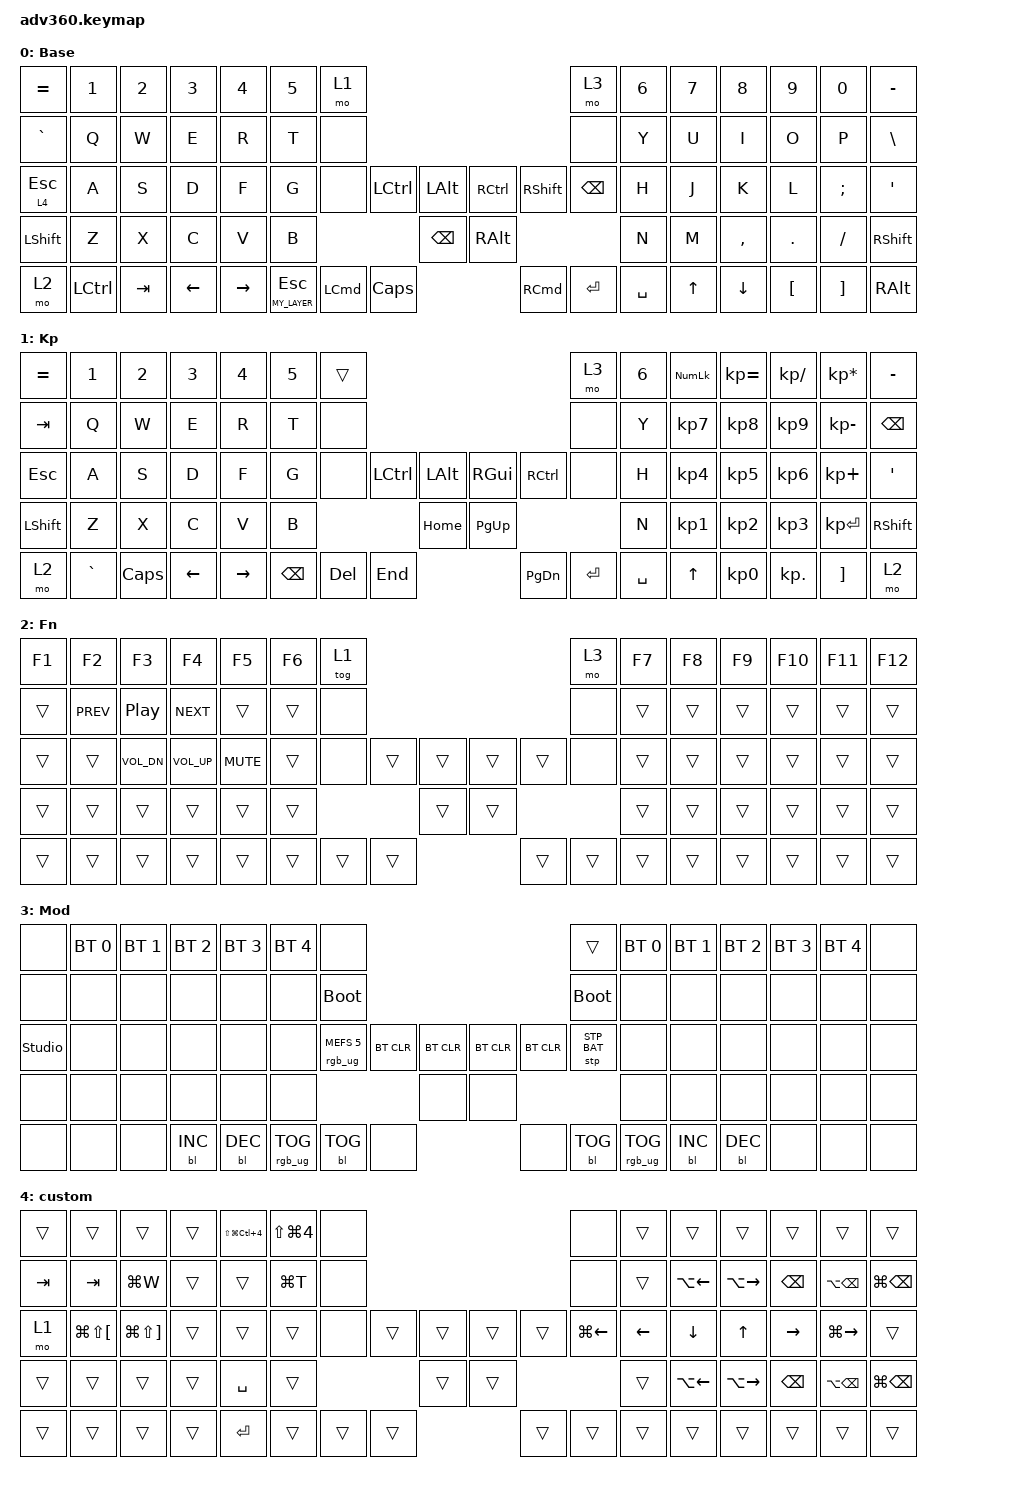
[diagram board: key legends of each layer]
#include <behaviors.dtsi>
#include <dt-bindings/zmk/keys.h>
#include <dt-bindings/zmk/bt.h>
#include <dt-bindings/zmk/rgb.h>
#include <dt-bindings/zmk/stp.h>
#include <dt-bindings/zmk/backlight.h>
#include <dt-bindings/zmk/pointing.h>

#define MY_LAYER 4

/ {
    behaviors {
      #include "macros.dtsi"
      #include "version.dtsi"

      hm: homerow_mods {
          compatible = "zmk,behavior-hold-tap";
          label = "HOMEROW_MODS";
          #binding-cells = <2>;
          tapping-term-ms = <200>;
          quick_tap_ms = <175>;
          flavor = "tap-preferred";
          bindings = <&kp>, <&kp>;
      };
    };

  keymap {
    compatible = "zmk,keymap";

    default_layer {
      display-name = "Base";
      bindings = <
        &kp EQUAL   &kp N1    &kp N2   &kp N3     &kp N4     &kp N5 &mo 1                                                                               &mo 3     &kp N6  &kp N7 &kp N8    &kp N9   &kp N0   &kp MINUS
        &kp GRAVE   &kp Q     &kp W    &kp E      &kp R      &kp T  &none                                                                               &none     &kp Y   &kp U  &kp I     &kp O    &kp P    &kp BSLH
        &lt 4 ESC   &kp A     &kp S    &kp D      &kp F      &kp G  &none                      &kp LCTRL   &kp LALT     &kp RCTRL &kp RSHFT             &kp BSPC  &kp H   &kp J  &kp K     &kp L    &kp SEMI &kp SQT
        &kp LSHFT   &kp Z     &kp X    &kp C      &kp V      &kp B                                         &kp BSPC     &kp RALT                                  &kp N   &kp M  &kp COMMA &kp DOT  &kp FSLH &kp RSHFT
        &mo 2       &kp LCTRL &kp TAB  &kp LEFT   &kp RIGHT                 &lt MY_LAYER ESC   &kp LCMD    &kp CAPS     &kp RCMD  &kp ENTER &kp SPACE                     &kp UP &kp DOWN  &kp LBKT &kp RBKT &kp RALT
      >;
    };
    keypad {
      display-name = "Kp";
      bindings = <
        &kp EQUAL &kp N1    &kp N2   &kp N3   &kp N4     &kp N5 &trans                                                            &mo 3 &kp N6 &kp KP_NUM &kp KP_EQUAL &kp KP_DIVIDE &kp KP_MULTIPLY &kp MINUS
        &kp TAB   &kp Q     &kp W    &kp E    &kp R      &kp T  &none                                                             &none &kp Y  &kp KP_N7  &kp KP_N8    &kp KP_N9     &kp KP_MINUS    &kp BSPC
        &kp ESC   &kp A     &kp S    &kp D    &kp F      &kp G  &none           &kp LCTRL &kp LALT  &kp RGUI  &kp RCTRL           &none &kp H  &kp KP_N4  &kp KP_N5    &kp KP_N6     &kp KP_PLUS     &kp SQT
        &kp LSHFT &kp Z     &kp X    &kp C    &kp V      &kp B                            &kp HOME  &kp PG_UP                           &kp N  &kp KP_N1  &kp KP_N2    &kp KP_N3     &kp KP_ENTER    &kp RSHFT
        &mo 2     &kp GRAVE &kp CAPS &kp LEFT &kp RIGHT                &kp BSPC &kp DEL   &kp END   &kp PG_DN &kp ENTER &kp SPACE              &kp UP     &kp KP_N0    &kp KP_DOT    &kp RBKT        &mo 2
      >;
    };
    fn {
      display-name = "Fn";
      bindings = <
        &kp F1 &kp F2      &kp F3       &kp F4        &kp F5     &kp F6  &tog 1                                           &mo 3 &kp F7 &kp F8 &kp F9 &kp F10 &kp F11 &kp F12
        &trans &kp C_PREV  &kp C_PP     &kp C_NEXT    &trans     &trans  &none                                            &none &trans &trans &trans &trans  &trans  &trans
        &trans &trans      &kp C_VOL_DN &kp C_VOL_UP  &kp C_MUTE &trans  &none        &trans &trans  &trans &trans        &none &trans &trans &trans &trans  &trans  &trans
        &trans &trans      &trans       &trans        &trans     &trans                      &trans  &trans                     &trans &trans &trans &trans  &trans  &trans
        &trans &trans      &trans       &trans        &trans                   &trans &trans &trans  &trans &trans &trans              &trans &trans &trans  &trans  &trans
      >;
    };
    mod {
      display-name = "Mod";
      bindings = <
        &none &bt BT_SEL 0 &bt BT_SEL 1 &bt BT_SEL 2 &bt BT_SEL 3 &bt BT_SEL 4 &none                                                                                               &trans                 &bt BT_SEL 0 &bt BT_SEL 1 &bt BT_SEL 2 &bt BT_SEL 3 &bt BT_SEL 4 &none
        &none &none        &none        &none        &none        &none        &bootloader                                                                                         &bootloader            &none        &none        &none        &none        &none        &none
        &studio_unlock &none        &none        &none        &none        &none        &rgb_ug RGB_MEFS_CMD 5                 &bt BT_CLR &bt BT_CLR  &bt BT_CLR &bt BT_CLR                 &stp STP_BAT &none        &none        &none        &none        &none        &none
        &none &none        &none        &none        &none        &none                                                          &none       &none                                                        &none        &none        &none        &none        &none        &none
        &none &none        &none        &bl BL_INC   &bl BL_DEC                                       &rgb_ug RGB_TOG &bl BL_TOG &none       &none      &bl BL_TOG &rgb_ug RGB_TOG                                     &bl BL_INC   &bl BL_DEC   &none        &none        &none
      >;
    };
    custom {
      bindings = <
        &trans  &trans                   &trans                    &trans  &kp LS(LG(LC(N4)))    &kp LS(LG(N4))  &none                                              &none         &trans    &trans        &trans        &trans    &trans        &trans
        &kp TAB &kp TAB                  &kp LG(W)                 &trans  &trans                &kp LG(T)       &none                                              &none         &trans    &kp LA(LEFT)  &kp LA(RIGHT) &kp BSPC  &kp LA(BSPC)  &kp LG(BSPC)
        &mo 1   &kp LG(LS(LEFT_BRACKET)) &kp LG(LS(RIGHT_BRACKET)) &trans  &trans                &trans          &none         &trans &trans &trans &trans          &kp LG(LEFT)  &kp LEFT  &kp DOWN      &kp UP        &kp RIGHT &kp LG(RIGHT) &trans
        &trans  &trans                   &trans                    &trans  &kp SPACE             &trans                               &trans &trans                               &trans    &kp LA(LEFT)  &kp LA(RIGHT) &kp BSPC  &kp LA(BSPC)  &kp LG(BSPC)
        &trans  &trans                   &trans                    &trans  &kp ENTER                                       &trans &trans &trans &trans &trans &trans                           &trans        &trans        &trans    &trans        &trans
      >;
    };
    extra1 { 
      display-name = "Red";    
      status = "reserved";
    };

    extra2 { 
      display-name = "Purple";    
      status = "reserved";
    };

    extra3 { 
      display-name = "Cyan";    
      status = "reserved";
    };

    extra4 { 
      display-name = "Yellow";    
      status = "reserved";
    };
  };
};
